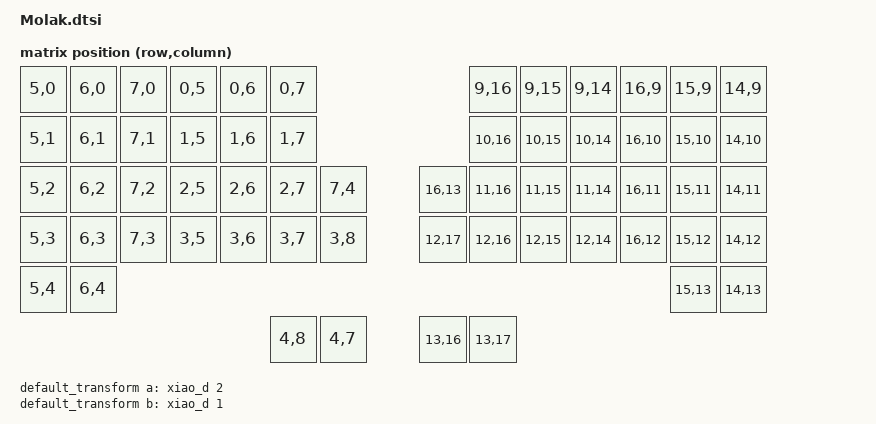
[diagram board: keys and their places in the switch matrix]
#include <dt-bindings/zmk/matrix_transform.h>
#include <dt-bindings/zmk/input_transform.h>
#include <physical_layouts.dtsi>

/ {
    chosen {
        zmk,kscan = &kscan0;
        zmk,matrix_transform = &physical_layout;
    };

    physical_layout: physical_layout {
        compatible = "zmk.physical_layout";
        display-name = "Default";
        transform = <&default_transform>;
        kscan = <&kscan0>;
        keys  //                     w   h    x    y     rot    rx    ry
            = <&key_physical_attrs 100 100    0    0       0     0     0>
            , <&key_physical_attrs 100 100  100    0       0     0     0>
            , <&key_physical_attrs 100 100  200    0       0     0     0>
            , <&key_physical_attrs 100 100  300    0       0     0     0>
            , <&key_physical_attrs 100 100  400    0       0     0     0>
            , <&key_physical_attrs 100 100  500    0       0     0     0>
            , <&key_physical_attrs 100 100  900    0       0     0     0>
            , <&key_physical_attrs 100 100 1000    0       0     0     0>
            , <&key_physical_attrs 100 100 1100    0       0     0     0>
            , <&key_physical_attrs 100 100 1200    0       0     0     0>
            , <&key_physical_attrs 100 100 1300    0       0     0     0>
            , <&key_physical_attrs 100 100 1400    0       0     0     0>
            , <&key_physical_attrs 100 100    0  100       0     0     0>
            , <&key_physical_attrs 100 100  100  100       0     0     0>
            , <&key_physical_attrs 100 100  200  100       0     0     0>
            , <&key_physical_attrs 100 100  300  100       0     0     0>
            , <&key_physical_attrs 100 100  400  100       0     0     0>
            , <&key_physical_attrs 100 100  500  100       0     0     0>
            , <&key_physical_attrs 100 100  900  100       0     0     0>
            , <&key_physical_attrs 100 100 1000  100       0     0     0>
            , <&key_physical_attrs 100 100 1100  100       0     0     0>
            , <&key_physical_attrs 100 100 1200  100       0     0     0>
            , <&key_physical_attrs 100 100 1300  100       0     0     0>
            , <&key_physical_attrs 100 100 1400  100       0     0     0>
            , <&key_physical_attrs 100 100    0  200       0     0     0>
            , <&key_physical_attrs 100 100  100  200       0     0     0>
            , <&key_physical_attrs 100 100  200  200       0     0     0>
            , <&key_physical_attrs 100 100  300  200       0     0     0>
            , <&key_physical_attrs 100 100  400  200       0     0     0>
            , <&key_physical_attrs 100 100  500  200       0     0     0>
            , <&key_physical_attrs 100 100  600  200       0     0     0>
            , <&key_physical_attrs 100 100  800  200       0     0     0>
            , <&key_physical_attrs 100 100  900  200       0     0     0>
            , <&key_physical_attrs 100 100 1000  200       0     0     0>
            , <&key_physical_attrs 100 100 1100  200       0     0     0>
            , <&key_physical_attrs 100 100 1200  200       0     0     0>
            , <&key_physical_attrs 100 100 1300  200       0     0     0>
            , <&key_physical_attrs 100 100 1400  200       0     0     0>
            , <&key_physical_attrs 100 100    0  300       0     0     0>
            , <&key_physical_attrs 100 100  100  300       0     0     0>
            , <&key_physical_attrs 100 100  200  300       0     0     0>
            , <&key_physical_attrs 100 100  300  300       0     0     0>
            , <&key_physical_attrs 100 100  400  300       0     0     0>
            , <&key_physical_attrs 100 100  500  300       0     0     0>
            , <&key_physical_attrs 100 100  600  300       0     0     0>
            , <&key_physical_attrs 100 100  800  300       0     0     0>
            , <&key_physical_attrs 100 100  900  300       0     0     0>
            , <&key_physical_attrs 100 100 1000  300       0     0     0>
            , <&key_physical_attrs 100 100 1100  300       0     0     0>
            , <&key_physical_attrs 100 100 1200  300       0     0     0>
            , <&key_physical_attrs 100 100 1300  300       0     0     0>
            , <&key_physical_attrs 100 100 1400  300       0     0     0>
            , <&key_physical_attrs 100 100    0  400       0     0     0>
            , <&key_physical_attrs 100 100  100  400       0     0     0>
            , <&key_physical_attrs 100 100  500  500       0     0     0>
            , <&key_physical_attrs 100 100  600  500       0     0     0>
            , <&key_physical_attrs 100 100  800  500       0     0     0>
            , <&key_physical_attrs 100 100  900  500       0     0     0>
            , <&key_physical_attrs 100 100 1300  400       0     0     0>
            , <&key_physical_attrs 100 100 1400  400       0     0     0>
            ;
        };
    }
    default_transform: keymap_transform_0 {
        compatible = "zmk,matrix-transform";
        columns = <14>;
        rows = <5>;
        map = <
            RC(5,0) RC(6,0) RC(7,0) RC(0,5) RC(0,6) RC(0,7)                       RC(9,16)  RC(9,15)  RC(9,14)  RC(16,9)  RC(15,9)  RC(14,9)
            RC(5,1) RC(6,1) RC(7,1) RC(1,5) RC(1,6) RC(1,7)                       RC(10,16) RC(10,15) RC(10,14) RC(16,10) RC(15,10) RC(14,10)
            RC(5,2) RC(6,2) RC(7,2) RC(2,5) RC(2,6) RC(2,7) RC(7,4)     RC(16,13) RC(11,16) RC(11,15) RC(11,14) RC(16,11) RC(15,11) RC(14,11)
            RC(5,3) RC(6,3) RC(7,3) RC(3,5) RC(3,6) RC(3,7) RC(3,8)     RC(12,17) RC(12,16) RC(12,15) RC(12,14) RC(16,12) RC(15,12) RC(14,12)
            RC(5,4) RC(6,4)                         RC(4,8) RC(4,7)     RC(13,16) RC(13,17)                               RC(15,13) RC(14,13)
        >;
    };

    kscan0: kscan {
        compatible = "zmk,kscan-gpio-charlieplex";
        wakeup-source;
        gpios
            = <&xiao_d 3 GPIO_ACTIVE_HIGH>
            , <&gpio1  0 GPIO_ACTIVE_HIGH>
            , <&gpio0  10 GPIO_ACTIVE_HIGH>
            , <&xiao_d 6 GPIO_ACTIVE_HIGH>
            , <&gpio0  15 GPIO_ACTIVE_HIGH>
            , <&gpio0  19 GPIO_ACTIVE_HIGH>
            , <&gpio1  1 GPIO_ACTIVE_HIGH>
            , <&xiao_d 10 GPIO_ACTIVE_HIGH>
            , <&xiao_d 9 GPIO_ACTIVE_HIGH>
            ;
    };

    right_encoder: encoder_right {
        compatible = "alps,ec11";
        a-gpios = <&xiao_d 1 (GPIO_ACTIVE_HIGH | GPIO_PULL_UP)>;
        b-gpios = <&xiao_d 2 (GPIO_ACTIVE_HIGH | GPIO_PULL_UP)>;
        steps = <24>;
    };

    left_encoder: encoder_left {
        compatible = "alps,ec11";
        a-gpios = <&xiao_d 2 (GPIO_ACTIVE_HIGH | GPIO_PULL_UP)>;
        b-gpios = <&xiao_d 1 (GPIO_ACTIVE_HIGH | GPIO_PULL_UP)>;
        steps = <24>;
    };

    sensors: sensors {
        compatible = "zmk,keymap-sensors";
        sensors = <&left_encoder &right_encoder>;
        triggers-per-rotation = <10>;
    };
};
